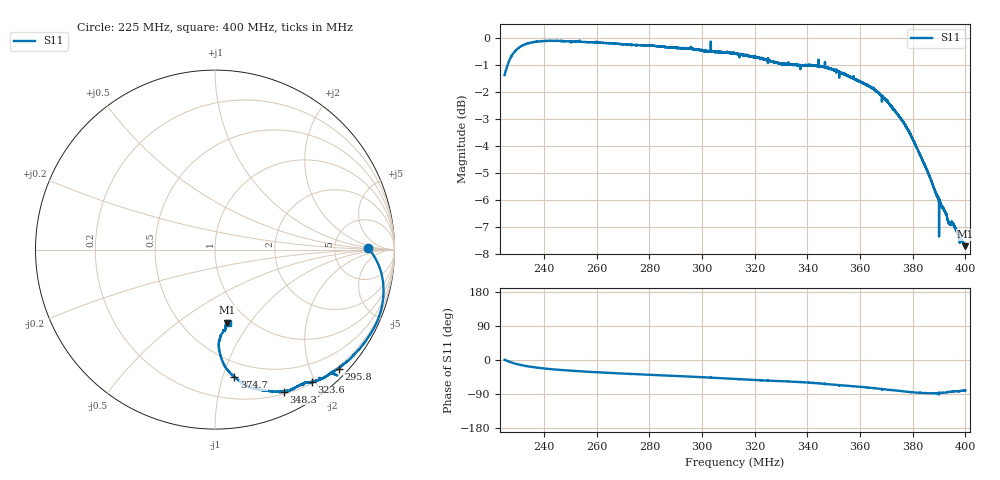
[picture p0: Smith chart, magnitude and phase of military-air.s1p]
! Calibrated averaged scanner-service zoom
# Hz S RI R 50
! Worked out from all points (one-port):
!   10001 points, 225 MHz to 400 MHz, reference 50 ohm
!   lowest |S11| = -7.7 dB at 400 MHz (marker M1), VSWR 2.40, Z = 40.2 - j39.3 ohm
!   |S11| at or under -10 dB: nowhere
!   S11 on the Smith chart (normalised r, x): 225 MHz: 13, +1; 295.8 MHz: 0.16, -2.47; 323.6 MHz: 0.21, -1.95; 348.3 MHz: 0.23, -1.58; 374.7 MHz: 0.37, -1.09; 400 MHz: 0.80, -0.79
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2.25e8  0.854 0.00771
2.269075e8  0.9082 -0.0781
2.285175e8  0.9292 -0.1404
2.308975e8  0.9389 -0.2138
2.3361e8  0.9366 -0.2767
2.3935e8  0.9159 -0.367
2.46875e8  0.8827 -0.4414
2.564825e8  0.8432 -0.5041
2.6875e8  0.7948 -0.5642
2.90625e8  0.7094 -0.6443
2.957875e8  0.6885 -0.6631
3.125e8  0.6042 -0.7158
3.236125e8  0.5393 -0.7391
3.34375e8  0.4825 -0.7507
3.42145e8  0.4393 -0.7735
3.4827e8  0.3847 -0.7909
3.5625e8  0.309 -0.7881
3.664175e8  0.2031 -0.7702
3.702325e8  0.1561 -0.7508
3.747475e8  0.108 -0.7094
3.78125e8  0.0717 -0.6745
3.825e8  0.0376 -0.6101
3.879775e8  0.0209 -0.529
3.9195e8  0.0316 -0.4798
3.938575e8  0.0477 -0.4514
3.95625e8  0.0561 -0.4465
3.999825e8  0.0683 -0.4065
4e8  0.0699 -0.4071
